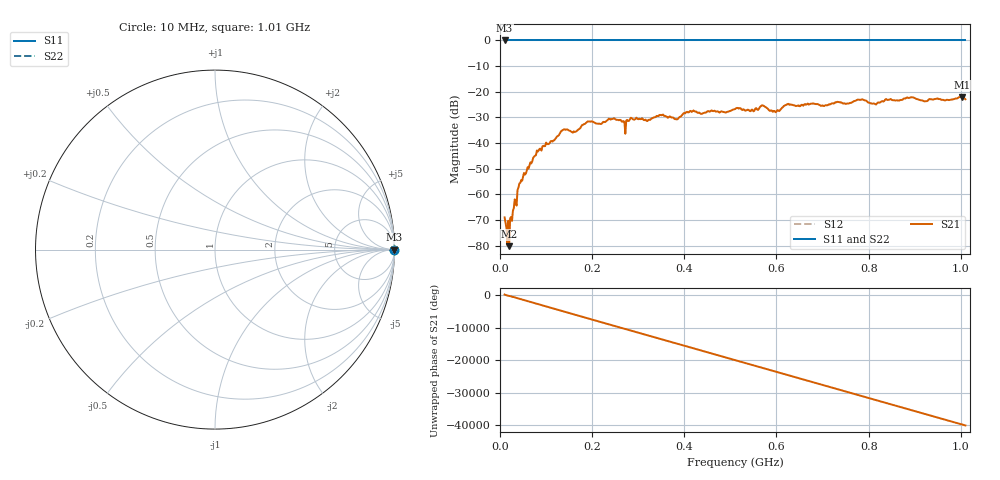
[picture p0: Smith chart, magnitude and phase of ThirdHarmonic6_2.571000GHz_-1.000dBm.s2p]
! 8/17/2025 5:23:04 AM
! C:\ANRITSUVNA\TEMP\TEMP.S2P
! CHANNEL.1
! TR.MEASUREMENT
! RAW.DATA
! RF.CORRECTION.OFF
! AVERAGING.OFF
! IF.BANDWIDTH: 5KHZ
! SWEEPTYPE:  FREQ.SWEEP(Linear)
! Reference Plane Port Info
! PORT:  PORT1  PORT2
! DISTANCE:  0  m  0  m
! TIME:  0  s  0  s
! PHASE.OFFSET:  0  deg.  0  deg.
! LOSS:  0  dB  0  dB
! REF.LOSS:  0  dB  0  dB
! REF.FREQ:  0  Hz  0  Hz
! Power Info
! POWER:  -20  dBm  -20  dBm
! EFF.POWER:  -20  dBm  -20  dBm
! SOURCE.ATTEN:  0  dB  0  dB
! TEST.ATTEN:  0  dB  0  dB
# GHZ S RI R 50.0
! FREQ.GHZ  S11RE  S11IM  S21RE  S21IM  S12RE  S12IM  S22RE  S22IM
!; PortSelection: Port_12
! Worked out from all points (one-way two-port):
!   501 points, 10 MHz to 1.01 GHz, reference 50 ohm
!   highest |S21| = -21.98 dB at 1.002 GHz (marker M1); lowest = -80.2 dB at 20 MHz (marker M2)
!   lowest |S11| = 0.0 dB at 10 MHz (marker M3)
!   |S11| at or under -10 dB: nowhere
!   |S22| runs from 0.0 to 0.0 dB; largest |S21 - S12| = 1.1
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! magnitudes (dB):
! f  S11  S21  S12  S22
! 10 MHz  0.0  -68.9  0.0  0.0
! 16 MHz  0.0  -79.8  0.0  0.0
! 20 MHz  0.0  -80.2  0.0  0.0
! 42 MHz  0.0  -55.8  0.0  0.0
! 76 MHz  0.0  -44.9  0.0  0.0
! 136 MHz  0.0  -35.0  0.0  0.0
! 162 MHz  0.0  -35.6  0.0  0.0
! 178 MHz  0.0  -33.0  0.0  0.0
! 246 MHz  0.0  -30.5  0.0  0.0
! 268 MHz  0.0  -31.4  0.0  0.0
! 344 MHz  0.0  -29.5  0.0  0.0
! 382 MHz  0.0  -30.7  0.0  0.0
! 416 MHz  0.0  -27.9  0.0  0.0
! 510 MHz  0.0  -26.7  0.0  0.0
! 548 MHz  0.0  -27.0  0.0  0.0
! 570 MHz  0.0  -25.3  0.0  0.0
! 596 MHz  0.0  -27.5  0.0  0.0
! 622 MHz  0.0  -25.1  0.0  0.0
! 678 MHz  0.0  -24.6  0.0  0.0
! 844 MHz  0.0  -23.1  0.0  0.0
! 1.002 GHz  0.0  -22.0  0.0  0.0
! 1.01 GHz  0.0  -22.9  0.0  0.0
